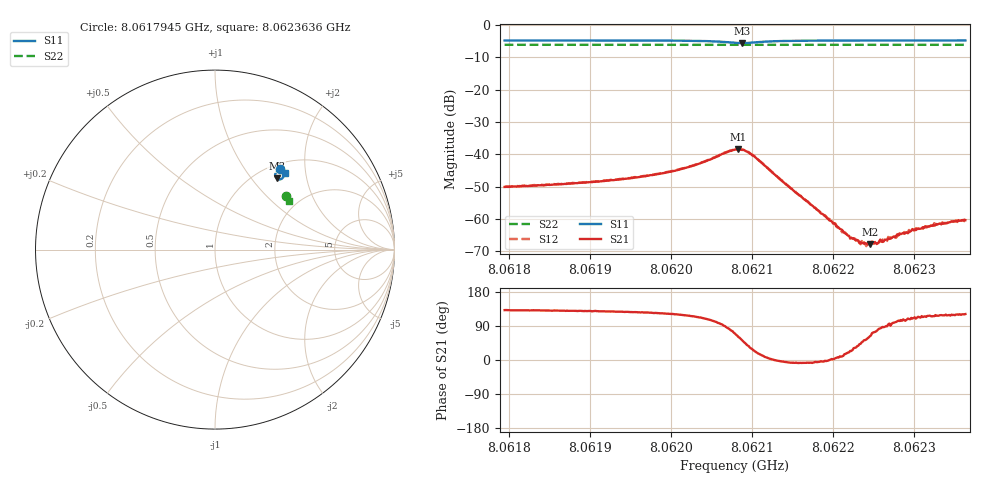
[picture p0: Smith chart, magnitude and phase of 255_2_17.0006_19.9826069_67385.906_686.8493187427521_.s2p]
#  HZ  S  RI  R  50.00
! Rohde & Schwarz Vector Network Analyzer
! Rohde-Schwarz,ZNB20-2Port,1311601062101988,3.16
! Created: UTC 3/20/2024, 11:03:27 PM
! freq[Hz]  re:S11  im:S11  re:S21  im:S21  re:S12  im:S12  re:S22  im:S22
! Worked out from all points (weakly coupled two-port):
!   401 points, 8.0617945 GHz to 8.0623636 GHz, reference 50 ohm
!   highest |S21| = -38.47 dB at 8.0620833 GHz (marker M1); lowest = -67.9 dB at 8.0622455 GHz (marker M2)
!   lowest |S11| = -5.6 dB at 8.0620876 GHz (marker M3), VSWR 3.21, Z = 61.6 + j67.4 ohm
!   |S11| at or under -10 dB: nowhere
!   |S22| runs from -6.2 to -6.1 dB; largest |S21 - S12| = 0.00088
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8.06179454e9  0.3637 0.4465  -0.00208 0.00233  -0.00193 0.00248  0.3931 0.299
8.06188985e9  0.3706 0.4402  -0.0023 0.00281  -0.00219 0.00296  0.3964 0.2945
8.06194675e9  0.3754 0.4354  -0.00254 0.00336  -0.00234 0.00358  0.3983 0.2914
8.06198516e9  0.3789 0.4305  -0.00275 0.00413  -0.00253 0.00432  0.3997 0.2894
8.06203069e9  0.383 0.419  -0.0028 0.00627  -0.00248 0.00651  0.4011 0.2867
8.06207905e9  0.3579 0.3911  0.0041 0.0111  0.00486 0.0109  0.4013 0.2835
8.06208332e9  0.3504 0.3926  0.00584 0.0104  0.00637 0.0101  0.4011 0.2835
8.06208759e9  0.3438 0.3964  0.00705 0.00928  0.00773 0.00896  0.401 0.2836
8.06209328e9  0.3374 0.4046  0.00839 0.00724  0.0088 0.00683  0.4009 0.2838
8.06210324e9  0.3355 0.4201  0.00841 0.00369  0.00875 0.00323  0.4015 0.2841
8.06213311e9  0.3529 0.4386  0.00425 -0.000184  0.00431 -0.000424  0.4035 0.2832
8.06217437e9  0.3671 0.4384  0.0016 -0.000218  0.0016 -0.00028  0.4054 0.2811
8.06222131e9  0.3748 0.4353  0.000458 0.000204  0.000486 0.000108  0.4071 0.2786
8.06223554e9  0.3766 0.4342  0.00029 0.000308  0.000334 0.000309  0.4076 0.2777
8.06224265e9  0.3773 0.4338  0.000227 0.00035  0.000247 0.000329  0.408 0.2775
8.06224549e9  0.3777 0.4336  0.000188 0.000358  0.000181 0.000376  0.408 0.2774
8.06225403e9  0.3784 0.4331  9.49e-05 0.000398  0.00012 0.000426  0.4082 0.2768
8.06226968e9  0.38 0.4321  -5.36e-05 0.000487  3.56e-06 0.000512  0.4088 0.2761
8.06229671e9  0.3823 0.4304  -0.000235 0.000612  -0.000172 0.000651  0.4098 0.2747
8.06231378e9  0.3838 0.4294  -0.000321 0.000685  -0.000275 0.000713  0.4103 0.2738
8.06232374e9  0.3844 0.4288  -0.000348 0.000722  -0.000301 0.000723  0.4106 0.2732
8.06236357e9  0.3873 0.4265  -0.000498 0.00082  -0.000463 0.000888  0.4119 0.2712
